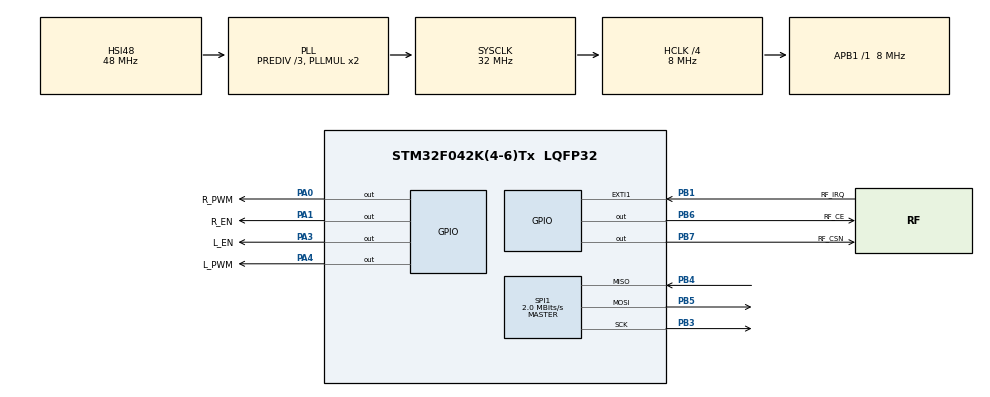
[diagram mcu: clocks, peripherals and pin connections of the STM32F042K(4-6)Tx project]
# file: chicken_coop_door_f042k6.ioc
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Mcu.Family=STM32F0
Mcu.Name=STM32F042K(4-6)Tx
Mcu.Package=LQFP32
NVIC.EXTI0_1_IRQn=true\:0\:0\:false\:false\:true\:true\:true\:true
PA0.GPIO_Label=R_PWM
PA0.Signal=GPIO_Output
PA1.GPIO_Label=R_EN
PA1.Signal=GPIO_Output
PA13.GPIO_Label=SWDIO
PA13.Signal=SYS_SWDIO
PA14.GPIO_Label=SWCLK
PA14.Signal=SYS_SWCLK
PA3.GPIO_Label=L_EN
PA3.Signal=GPIO_Output
PA4.GPIO_Label=L_PWM
PA4.Signal=GPIO_Output
PB1.GPIO_Label=RF_IRQ
PB1.GPIO_ModeDefaultEXTI=GPIO_MODE_IT_FALLING
PB1.Signal=GPXTI1
PB3.GPIO_Speed=GPIO_SPEED_FREQ_HIGH
PB3.Mode=Full_Duplex_Master
PB3.Signal=SPI1_SCK
PB4.Mode=Full_Duplex_Master
PB4.Signal=SPI1_MISO
PB5.Mode=Full_Duplex_Master
PB5.Signal=SPI1_MOSI
PB6.GPIO_Label=RF_CE
PB6.GPIO_Speed=GPIO_SPEED_FREQ_HIGH
PB6.Signal=GPIO_Output
PB7.GPIO_Label=RF_CSN
PB7.GPIO_Speed=GPIO_SPEED_FREQ_HIGH
PB7.Signal=GPIO_Output
PF0-OSC_IN.GPIO_Label=MCO
PF0-OSC_IN.Signal=RCC_OSC_IN
ProjectManager.HeapSize=0x200
ProjectManager.StackSize=0x400
ProjectManager.TargetToolchain=STM32CubeIDE
RCC.AHBCLKDivider=RCC_SYSCLK_DIV4
RCC.AHBFreq_Value=8000000
RCC.APB1Freq_Value=8000000
RCC.APB1TimFreq_Value=8000000
RCC.HCLKFreq_Value=8000000
RCC.PLLDivider=RCC_PREDIV_DIV3
RCC.PLLSourceVirtual=RCC_PLLSOURCE_HSI48
RCC.SYSCLKFreq_VALUE=32000000
RCC.SYSCLKSource=RCC_SYSCLKSOURCE_PLLCLK
SPI1.BaudRatePrescaler=SPI_BAUDRATEPRESCALER_4
SPI1.CalculateBaudRate=2.0 MBits/s
SPI1.DataSize=SPI_DATASIZE_8BIT
SPI1.Direction=SPI_DIRECTION_2LINES
SPI1.Mode=SPI_MODE_MASTER
SPI1.NSSPMode=SPI_NSS_PULSE_DISABLE
SPI1.VirtualType=VM_MASTER
board=NUCLEO-F042K6

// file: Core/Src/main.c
/* USER CODE BEGIN Header */
/**
  ******************************************************************************
  * @file           : main.c
  * @brief          : Main program body
  ******************************************************************************
  * @attention
  *
  * Copyright (c) 2025 STMicroelectronics.
  * All rights reserved.
  *
  * This software is licensed under terms that can be found in the LICENSE file
  * in the root directory of this software component.
  * If no LICENSE file comes with this software, it is provided AS-IS.
  *
  ******************************************************************************
  */
/* USER CODE END Header */
#include "main.h"
#include "spi.h"
#include "gpio.h"

/* USER CODE BEGIN Includes */
#include "linear_actuator_12vdc.h"
#include "nrf24l01p.h"
#include <string.h>
/* USER CODE END Includes */

/* USER CODE BEGIN PV */
typedef enum
{
    Open,
    Closed,
	Not_Init
} DoorStatus_t;

DoorStatus_t door_status, pending_door_status;
uint8_t rx_data[NRF24L01P_PAYLOAD_LENGTH];
uint8_t motor_moving = 0;
uint8_t command_pending = 0;
/* USER CODE END PV */

void SystemClock_Config(void);
/* USER CODE BEGIN PFP */
void Receiver_Interrupt()
{
	nrf24l01p_rx_receive(rx_data);
	rx_data[NRF24L01P_PAYLOAD_LENGTH - 1] = '\0';
	char* message = (char*)rx_data;

	if(!motor_moving)
	{
	// if message contains "open", pending_door_status = open, message contains "closed", pending_door_status=closed
		if (strstr(message, "open") != NULL && door_status != Open) {
			pending_door_status = Open;
			command_pending = 1;
		} else if (strstr(message, "closed") != NULL && door_status != Closed) {
			pending_door_status = Closed;
			command_pending = 1;
		}
	}
}

void HAL_GPIO_EXTI_Callback(uint16_t GPIO_Pin)
{
    if (GPIO_Pin == RF_IRQ_Pin)
    {
        // Your code when RF_IRQ (PB1) interrupt happens
    	Receiver_Interrupt();
    }
}

void Open_Coop_Door()
{
	 // if we get an interrupt during this period, we want to ignore it
	Move_Backward();
	HAL_Delay(21000);
	Stop_Motor();
	HAL_Delay(10);
}

void Close_Coop_Door()
{
	Move_Forward();
	HAL_Delay(21000); // TODO stop here in the middle to avoid decapitations
	Stop_Motor();
	HAL_Delay(10);
}

/* USER CODE END PFP */

int main(void)
{

  /* MCU Configuration--------------------------------------------------------*/

  /* Reset of all peripherals, Initializes the Flash interface and the Systick. */
  HAL_Init();

  /* Configure the system clock */
  SystemClock_Config();

  /* Initialize all configured peripherals */
  MX_GPIO_Init();
  MX_SPI1_Init();
  /* USER CODE BEGIN 2 */

	door_status = Not_Init;
	pending_door_status = Open;

	nrf24l01p_rx_init(2576, _1Mbps);
	HAL_Delay(1000);

  /* USER CODE END 2 */

  /* Infinite loop */
  /* USER CODE BEGIN WHILE */

	uint8_t status = nrf24l01p_get_status();
	while (1)
	{
		/*if(door_status != pending_door_status)
		{
		  if(pending_door_status == Open && !motor_moving)
		  {
			  Open_Coop_Door();
			  door_status = Open;
		  }
		  else if (!motor_moving)
		  {
			  Close_Coop_Door();
			  door_status = Closed;
		  }
		}*/
		if(command_pending && !motor_moving)
		{
			if(pending_door_status == Open)
			{
				motor_moving = 1;
				command_pending = 0;
				Open_Coop_Door();
				door_status = Open;
				motor_moving = 0;
			}
			else if(pending_door_status == Closed)
			{
				motor_moving = 1;
				command_pending =  0;
				Close_Coop_Door();
				door_status = Closed;
				motor_moving = 0;
			}
		}

		__WFI();

	/* USER CODE END WHILE */

	}
}

void SystemClock_Config(void)
{
  RCC_OscInitTypeDef RCC_OscInitStruct = {0};
  RCC_ClkInitTypeDef RCC_ClkInitStruct = {0};

  /** Initializes the RCC Oscillators according to the specified parameters
  * in the RCC_OscInitTypeDef structure.
  */
  RCC_OscInitStruct.OscillatorType = RCC_OSCILLATORTYPE_HSI48;
  RCC_OscInitStruct.HSI48State = RCC_HSI48_ON;
  RCC_OscInitStruct.PLL.PLLState = RCC_PLL_ON;
  RCC_OscInitStruct.PLL.PLLSource = RCC_PLLSOURCE_HSI48;
  RCC_OscInitStruct.PLL.PLLMUL = RCC_PLL_MUL2;
  RCC_OscInitStruct.PLL.PREDIV = RCC_PREDIV_DIV3;
  if (HAL_RCC_OscConfig(&RCC_OscInitStruct) != HAL_OK)
  {
    Error_Handler();
  }

  /** Initializes the CPU, AHB and APB buses clocks
  */
  RCC_ClkInitStruct.ClockType = RCC_CLOCKTYPE_HCLK|RCC_CLOCKTYPE_SYSCLK
                              |RCC_CLOCKTYPE_PCLK1;
  RCC_ClkInitStruct.SYSCLKSource = RCC_SYSCLKSOURCE_PLLCLK;
  RCC_ClkInitStruct.AHBCLKDivider = RCC_SYSCLK_DIV4;
  RCC_ClkInitStruct.APB1CLKDivider = RCC_HCLK_DIV1;

  if (HAL_RCC_ClockConfig(&RCC_ClkInitStruct, FLASH_LATENCY_1) != HAL_OK)
  {
    Error_Handler();
  }
}

void Error_Handler(void)
{
  __disable_irq();
  while (1)
  {
  }
}
